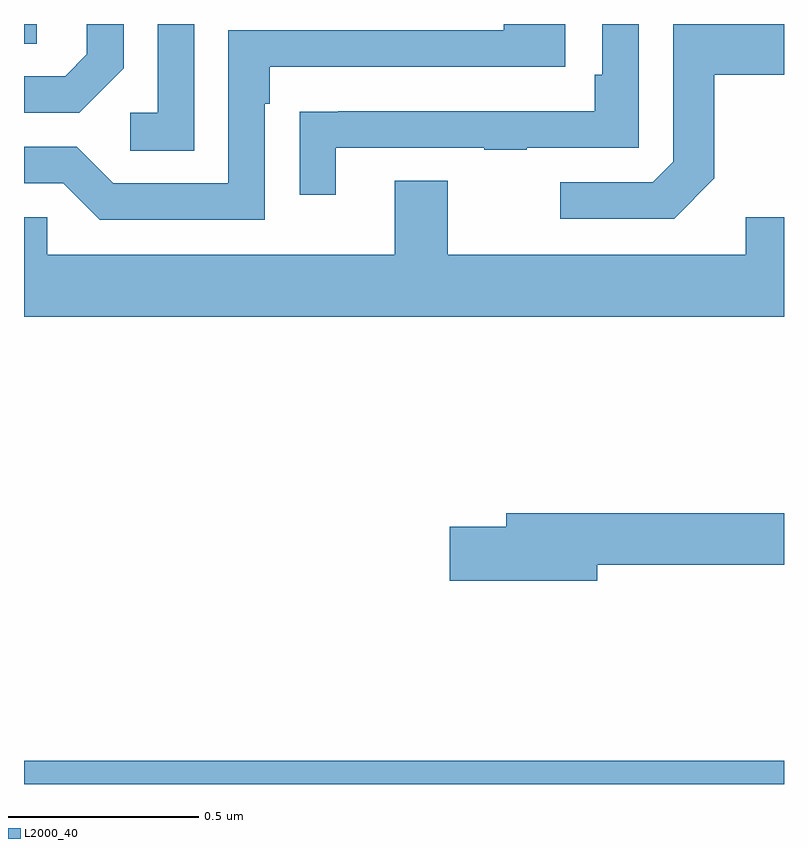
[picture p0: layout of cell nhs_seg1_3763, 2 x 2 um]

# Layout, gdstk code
import gdstk
lib = gdstk.Library(unit=1e-6, precision=1e-09)
def R(c, l, rs):  # rectangles x0, y0, x1, y1
    for r in rs: c.add(gdstk.rectangle(r[:2], r[2:], *l))
def P(c, l, *ps):  # polygons
    for p in ps: c.add(gdstk.Polygon(p, *l))
L2000_40 = (2000, 40)

nhs_seg1_3763 = lib.new_cell('nhs_seg1_3763')
R(nhs_seg1_3763, L2000_40, [(158,521.199,160,521.26), (158,523.147,158.034,523.199)])
P(nhs_seg1_3763, L2000_40, [(159.817,522.793),(159.817,523.066),(160,523.066),(160,523.199),(159.708,523.199),(159.708,522.837),(159.654,522.783),(159.411,522.783),(159.411,522.687),(159.711,522.687)],
  [(158.448,523.199),(158.352,523.199),(158.352,522.966),(158.28,522.966),(158.28,522.865),(158.448,522.865)],
  [(158.821,522.873),(159.211,522.873),(159.211,522.868),(159.323,522.868),(159.323,522.873),(159.618,522.873),(159.618,523.199),(159.522,523.199),(159.522,523.066),(159.502,523.066),(159.502,522.969),(158.827,522.969),(158.827,522.968),(158.725,522.968),(158.725,522.75),(158.821,522.75)],
  [(158.262,523.082),(158.262,523.199),(158.165,523.199),(158.165,523.119),(158.108,523.062),(158,523.062),(158,522.966),(158.146,522.966)],
  [(158.634,522.989),(158.647,522.989),(158.647,523.086),(159.424,523.086),(159.424,523.199),(159.263,523.199),(159.263,523.182),(158.538,523.182),(158.538,522.78),(158.235,522.78),(158.139,522.876),(158,522.876),(158,522.78),(158.103,522.78),(158.199,522.684),(158.634,522.684)],
  [(160,522.691),(159.899,522.691),(159.899,522.592),(159.115,522.592),(159.115,522.787),(158.975,522.787),(158.975,522.592),(158.061,522.592),(158.061,522.69),(158,522.69),(158,522.428),(160,522.428)],
  [(159.508,521.776),(160,521.776),(160,521.912),(159.269,521.912),(159.269,521.876),(159.12,521.876),(159.12,521.734),(159.508,521.734)])

lib.write_gds('nhs_seg1_3763.gds')
